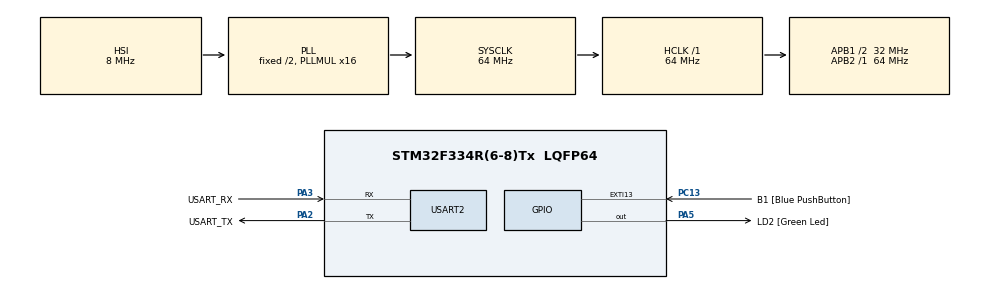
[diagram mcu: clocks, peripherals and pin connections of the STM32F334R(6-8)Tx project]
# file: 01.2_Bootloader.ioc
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Mcu.Family=STM32F3
Mcu.Name=STM32F334R(6-8)Tx
Mcu.Package=LQFP64
NVIC.EXTI15_10_IRQn=true\:0\:0\:false\:false\:true\:true\:true\:true
NVIC.PriorityGroup=NVIC_PRIORITYGROUP_0
PA13.GPIO_Label=TMS
PA13.Mode=Serial_Wire
PA13.Signal=SYS_JTMS-SWDIO
PA14.GPIO_Label=TCK
PA14.Mode=Serial_Wire
PA14.Signal=SYS_JTCK-SWCLK
PA2.GPIO_Label=USART_TX
PA2.Mode=Asynchronous
PA2.Signal=USART2_TX
PA3.GPIO_Label=USART_RX
PA3.Mode=Asynchronous
PA3.Signal=USART2_RX
PA5.GPIO_Label=LD2 [Green Led]
PA5.Signal=GPIO_Output
PB3.GPIO_Label=SWO
PB3.Signal=SYS_JTDO-TRACESWO
PC13.GPIO_Label=B1 [Blue PushButton]
PC13.GPIO_ModeDefaultEXTI=GPIO_MODE_IT_FALLING
PC13.Signal=GPXTI13
PC14\ /\ OSC32_IN.Mode=LSE-External-Oscillator
PC14\ /\ OSC32_IN.Signal=RCC_OSC32_IN
PC15\ /\ OSC32_OUT.GPIO_Label=RCC_OSC32_OUT
PC15\ /\ OSC32_OUT.Mode=LSE-External-Oscillator
PC15\ /\ OSC32_OUT.Signal=RCC_OSC32_OUT
PF0\ /\ OSC_IN.Mode=HSE-External-Oscillator
PF0\ /\ OSC_IN.Signal=RCC_OSC_IN
PF1\ /\ OSC_OUT.Mode=HSE-External-Oscillator
PF1\ /\ OSC_OUT.Signal=RCC_OSC_OUT
ProjectManager.HeapSize=0x200
ProjectManager.StackSize=0x400
ProjectManager.TargetToolchain=STM32CubeIDE
RCC.AHBFreq_Value=64000000
RCC.APB1CLKDivider=RCC_HCLK_DIV2
RCC.APB1Freq_Value=32000000
RCC.APB1TimFreq_Value=64000000
RCC.APB2Freq_Value=64000000
RCC.APB2TimFreq_Value=64000000
RCC.CortexFreq_Value=64000000
RCC.FLatency-AdvancedSettings=FLASH_LATENCY_2
RCC.HCLKFreq_Value=64000000
RCC.HSE_VALUE=8000000
RCC.HSI_VALUE=8000000
RCC.PLLMUL=RCC_PLL_MUL16
RCC.SYSCLKFreq_VALUE=64000000
RCC.SYSCLKSourceVirtual=RCC_SYSCLKSOURCE_PLLCLK
USART2.VirtualMode-Asynchronous=VM_ASYNC
board=NUCLEO-F334R8

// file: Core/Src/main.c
/* USER CODE BEGIN Header */
/**
  ******************************************************************************
  * @file           : main.c
  * @brief          : Main program body
  ******************************************************************************
  * @attention
  *
  * Copyright (c) 2023 STMicroelectronics.
  * All rights reserved.
  *
  * This software is licensed under terms that can be found in the LICENSE file
  * in the root directory of this software component.
  * If no LICENSE file comes with this software, it is provided AS-IS.
  *
  ******************************************************************************
  */
/* USER CODE END Header */
#include "main.h"

/* USER CODE BEGIN Includes */
#include <stdio.h>
#include <string.h>
/* USER CODE END Includes */

/* USER CODE BEGIN PM */
#define APPADDR				0x08005000
/* USER CODE END PM */

UART_HandleTypeDef huart2;

/* USER CODE BEGIN PV */
char txMsg[100];
/* USER CODE END PV */

void SystemClock_Config(void);
static void MX_GPIO_Init(void);
static void MX_USART2_UART_Init(void);
/* USER CODE BEGIN PFP */
void applicationStart(void);

/* USER CODE END PFP */

int main(void)
{

  /* MCU Configuration--------------------------------------------------------*/

  /* Reset of all peripherals, Initializes the Flash interface and the Systick. */

	HAL_Init();

  /* Configure the system clock */
  SystemClock_Config();

  /* Initialize all configured peripherals */
  MX_GPIO_Init();
  MX_USART2_UART_Init();
  /* USER CODE BEGIN 2 */
  sprintf(txMsg,"Working in bootloader file\n");

  /* USER CODE END 2 */

  /* Infinite loop */
  while (1)
  {

    /* USER CODE BEGIN 3 */
	  HAL_UART_Transmit(&huart2, (uint8_t*)txMsg, strlen(txMsg), 100);
	  HAL_Delay(500);
  }

  /* USER CODE END 3 */
}

void SystemClock_Config(void)
{
  RCC_OscInitTypeDef RCC_OscInitStruct = {0};
  RCC_ClkInitTypeDef RCC_ClkInitStruct = {0};

  /** Initializes the RCC Oscillators according to the specified parameters
  * in the RCC_OscInitTypeDef structure.
  */
  RCC_OscInitStruct.OscillatorType = RCC_OSCILLATORTYPE_HSI;
  RCC_OscInitStruct.HSIState = RCC_HSI_ON;
  RCC_OscInitStruct.HSICalibrationValue = RCC_HSICALIBRATION_DEFAULT;
  RCC_OscInitStruct.PLL.PLLState = RCC_PLL_ON;
  RCC_OscInitStruct.PLL.PLLSource = RCC_PLLSOURCE_HSI;
  RCC_OscInitStruct.PLL.PLLMUL = RCC_PLL_MUL16;
  if (HAL_RCC_OscConfig(&RCC_OscInitStruct) != HAL_OK)
  {
    Error_Handler();
  }

  /** Initializes the CPU, AHB and APB buses clocks
  */
  RCC_ClkInitStruct.ClockType = RCC_CLOCKTYPE_HCLK|RCC_CLOCKTYPE_SYSCLK
                              |RCC_CLOCKTYPE_PCLK1|RCC_CLOCKTYPE_PCLK2;
  RCC_ClkInitStruct.SYSCLKSource = RCC_SYSCLKSOURCE_PLLCLK;
  RCC_ClkInitStruct.AHBCLKDivider = RCC_SYSCLK_DIV1;
  RCC_ClkInitStruct.APB1CLKDivider = RCC_HCLK_DIV2;
  RCC_ClkInitStruct.APB2CLKDivider = RCC_HCLK_DIV1;

  if (HAL_RCC_ClockConfig(&RCC_ClkInitStruct, FLASH_LATENCY_2) != HAL_OK)
  {
    Error_Handler();
  }
}

static void MX_USART2_UART_Init(void)
{

  huart2.Instance = USART2;
  huart2.Init.BaudRate = 38400;
  huart2.Init.WordLength = UART_WORDLENGTH_8B;
  huart2.Init.StopBits = UART_STOPBITS_1;
  huart2.Init.Parity = UART_PARITY_NONE;
  huart2.Init.Mode = UART_MODE_TX_RX;
  huart2.Init.HwFlowCtl = UART_HWCONTROL_NONE;
  huart2.Init.OverSampling = UART_OVERSAMPLING_16;
  huart2.Init.OneBitSampling = UART_ONE_BIT_SAMPLE_DISABLE;
  huart2.AdvancedInit.AdvFeatureInit = UART_ADVFEATURE_NO_INIT;
  if (HAL_UART_Init(&huart2) != HAL_OK)
  {
    Error_Handler();
  }

}

static void MX_GPIO_Init(void)
{
  GPIO_InitTypeDef GPIO_InitStruct = {0};

  /* GPIO Ports Clock Enable */
  __HAL_RCC_GPIOC_CLK_ENABLE();
  __HAL_RCC_GPIOF_CLK_ENABLE();
  __HAL_RCC_GPIOA_CLK_ENABLE();
  __HAL_RCC_GPIOB_CLK_ENABLE();

  /*Configure GPIO pin Output Level */
  HAL_GPIO_WritePin(LD2_GPIO_Port, LD2_Pin, GPIO_PIN_RESET);

  /*Configure GPIO pin : B1_Pin */
  GPIO_InitStruct.Pin = B1_Pin;
  GPIO_InitStruct.Mode = GPIO_MODE_IT_FALLING;
  GPIO_InitStruct.Pull = GPIO_NOPULL;
  HAL_GPIO_Init(B1_GPIO_Port, &GPIO_InitStruct);

  /*Configure GPIO pin : LD2_Pin */
  GPIO_InitStruct.Pin = LD2_Pin;
  GPIO_InitStruct.Mode = GPIO_MODE_OUTPUT_PP;
  GPIO_InitStruct.Pull = GPIO_NOPULL;
  GPIO_InitStruct.Speed = GPIO_SPEED_FREQ_LOW;
  HAL_GPIO_Init(LD2_GPIO_Port, &GPIO_InitStruct);

  /* EXTI interrupt init*/
  HAL_NVIC_SetPriority(EXTI15_10_IRQn, 0, 0);
  HAL_NVIC_EnableIRQ(EXTI15_10_IRQn);

}

/* USER CODE BEGIN 4 */

void HAL_GPIO_EXTI_Callback(uint16_t GPIO_Pin)
{
	if(GPIO_Pin == B1_Pin)
	{
		applicationStart();
	}
}

void applicationStart(void)
{

	sprintf(txMsg,"Application function is invoked\n");
	HAL_UART_Transmit(&huart2, (uint8_t*)txMsg, strlen(txMsg), 100);

	void (*appResetHandler)(void) = (void*)(*(volatile uint32_t*)(APPADDR + 4));

	uint32_t mspValue = *(volatile uint32_t*)APPADDR;
	__set_MSP(mspValue);

	sprintf(txMsg,"MPS value is %#x\n",(int)mspValue);
	HAL_UART_Transmit(&huart2, (uint8_t*)txMsg, strlen(txMsg), 100);
	appResetHandler();
}

/* USER CODE END 4 */

void Error_Handler(void)
{
  __disable_irq();
  while (1)
  {
  }
}
